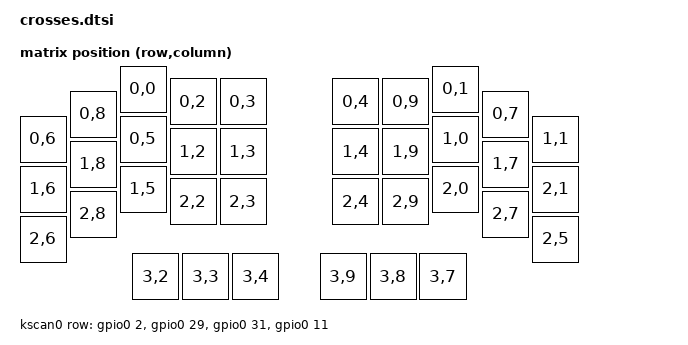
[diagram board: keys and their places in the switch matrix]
#include <dt-bindings/zmk/matrix_transform.h>
#include "physical_layouts.dtsi"

/ {
    crosses_layout: crosses_layout {
        compatible = "zmk,crosses-layout";
        display-name = "crosses";

        kscan = <&kscan0>;
        transform = <&matrix_transform0>;

        keys  //                     w   h    x    y     rot    rx    ry
            = <&key_physical_attrs 100 100  200    0       0     0     0>
            , <&key_physical_attrs 100 100  825    0       0     0     0>
            , <&key_physical_attrs 100 100  300   25       0     0     0>
            , <&key_physical_attrs 100 100  400   25       0     0     0>
            , <&key_physical_attrs 100 100  625   25       0     0     0>
            , <&key_physical_attrs 100 100  725   25       0     0     0>
            , <&key_physical_attrs 100 100  100   50       0     0     0>
            , <&key_physical_attrs 100 100  925   50       0     0     0>
            , <&key_physical_attrs 100 100    0  100       0     0     0>
            , <&key_physical_attrs 100 100  200  100       0     0     0>
            , <&key_physical_attrs 100 100  825  100       0     0     0>
            , <&key_physical_attrs 100 100 1025  100       0     0     0>
            , <&key_physical_attrs 100 100  300  125       0     0     0>
            , <&key_physical_attrs 100 100  400  125       0     0     0>
            , <&key_physical_attrs 100 100  625  125       0     0     0>
            , <&key_physical_attrs 100 100  725  125       0     0     0>
            , <&key_physical_attrs 100 100  100  150       0     0     0>
            , <&key_physical_attrs 100 100  925  150       0     0     0>
            , <&key_physical_attrs 100 100    0  200       0     0     0>
            , <&key_physical_attrs 100 100  200  200       0     0     0>
            , <&key_physical_attrs 100 100  825  200       0     0     0>
            , <&key_physical_attrs 100 100 1025  200       0     0     0>
            , <&key_physical_attrs 100 100  300  225       0     0     0>
            , <&key_physical_attrs 100 100  400  225       0     0     0>
            , <&key_physical_attrs 100 100  625  225       0     0     0>
            , <&key_physical_attrs 100 100  725  225       0     0     0>
            , <&key_physical_attrs 100 100  100  250       0     0     0>
            , <&key_physical_attrs 100 100  925  250       0     0     0>
            , <&key_physical_attrs 100 100    0  300       0     0     0>
            , <&key_physical_attrs 100 100 1025  300       0     0     0>
            , <&key_physical_attrs 100 100  225  375       0     0     0>
            , <&key_physical_attrs 100 100  325  375       0     0     0>
            , <&key_physical_attrs 100 100  425  375       0     0     0>
            , <&key_physical_attrs 100 100  600  375       0     0     0>
            , <&key_physical_attrs 100 100  700  375       0     0     0>
            , <&key_physical_attrs 100 100  800  375       0     0     0>
            ;
    };


    chosen {
        zmk,kscan = &kscan0;
        zmk,physical-layout = &crosses_layout;
    };

    default_transform: keymap_transform_0 {
		compatible = "zmk,matrix-transform";
        columns = <12>;
        rows = <4>;

        map = <
			RC(0,0) RC(0,1) RC(0,2) RC(0,3) RC(0,4)               RC(0,9) RC(0,8) RC(0,7) RC(0,6) RC(0,5) 
			RC(1,0) RC(1,1) RC(1,2) RC(1,3) RC(1,4)               RC(1,9) RC(1,8) RC(1,7) RC(1,6) RC(1,5)
			RC(2,0) RC(2,1) RC(2,2) RC(2,3) RC(2,4)               RC(2,9) RC(2,8) RC(2,7) RC(2,6) RC(2,5)
			                RC(3,2) RC(3,3) RC(3,4)               RC(3,9) RC(3,8) RC(3,7)           
     >;
};
	
    kscan0: kscan {
        compatible = "zmk,kscan-gpio-matrix";
        label = "KSCAN";

        diode-direction = "row2col";
		row-gpios
            = <&gpio0 2 GPIO_ACTIVE_HIGH>
            , <&gpio0 29 GPIO_ACTIVE_HIGH>
            , <&gpio0 31 GPIO_ACTIVE_HIGH>
	        , <&gpio0 11 GPIO_ACTIVE_HIGH>
	      
            ;
    };
 
};


&crosses_layout{

	transform = <&default_transform>;

	kscan = <&kscan0>;

};
